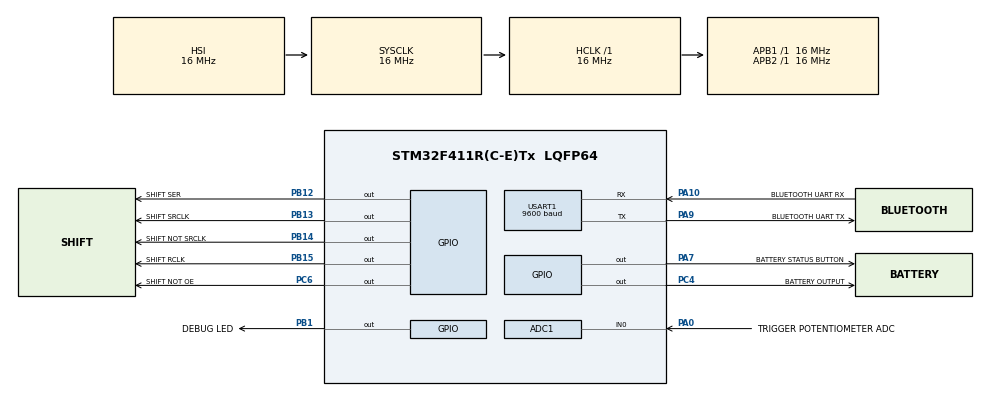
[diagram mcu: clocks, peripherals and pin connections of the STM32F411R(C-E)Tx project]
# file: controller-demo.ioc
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ADC1.Channel-2\#ChannelRegularConversion=ADC_CHANNEL_0
ADC1.ContinuousConvMode=DISABLE
ADC1.DiscontinuousConvMode=ENABLE
ADC1.NbrOfConversion=1
ADC1.NbrOfConversionFlag=1
ADC1.Rank-2\#ChannelRegularConversion=1
ADC1.Resolution=ADC_RESOLUTION_6B
ADC1.SamplingTime-2\#ChannelRegularConversion=ADC_SAMPLETIME_3CYCLES
ADC1.ScanConvMode=ENABLE
ADC1.master=1
Dma.ADC1.0.Direction=DMA_PERIPH_TO_MEMORY
Dma.ADC1.0.FIFOMode=DMA_FIFOMODE_DISABLE
Dma.ADC1.0.Instance=DMA2_Stream0
Dma.ADC1.0.MemDataAlignment=DMA_MDATAALIGN_HALFWORD
Dma.ADC1.0.MemInc=DMA_MINC_ENABLE
Dma.ADC1.0.Mode=DMA_CIRCULAR
Dma.ADC1.0.PeriphDataAlignment=DMA_PDATAALIGN_HALFWORD
Dma.ADC1.0.PeriphInc=DMA_PINC_DISABLE
Dma.ADC1.0.Priority=DMA_PRIORITY_LOW
Dma.Request0=ADC1
Mcu.Family=STM32F4
Mcu.Name=STM32F411R(C-E)Tx
Mcu.Package=LQFP64
Mcu.UserConstants=SLOW_PERIOD,2000;FAST_PERIOD,1000
NVIC.DMA2_Stream0_IRQn=true\:0\:0\:false\:false\:true\:false\:true\:true
NVIC.PriorityGroup=NVIC_PRIORITYGROUP_4
NVIC.TIM1_TRG_COM_TIM11_IRQn=true\:0\:0\:false\:false\:true\:true\:true\:true
NVIC.TIM1_UP_TIM10_IRQn=true\:0\:0\:false\:false\:true\:true\:true\:true
PA0-WKUP.GPIO_Label=TRIGGER POTENTIOMETER ADC
PA0-WKUP.Signal=ADCx_IN0
PA10.GPIO_Label=BLUETOOTH UART RX
PA10.Mode=Asynchronous
PA10.Signal=USART1_RX
PA7.GPIO_Label=BATTERY STATUS BUTTON
PA7.Signal=GPIO_Output
PA9.GPIO_Label=BLUETOOTH UART TX
PA9.Mode=Asynchronous
PA9.Signal=USART1_TX
PB1.GPIO_Label=DEBUG LED
PB1.Signal=GPIO_Output
PB12.GPIO_Label=SHIFT SER
PB12.Signal=GPIO_Output
PB13.GPIO_Label=SHIFT SRCLK
PB13.Signal=GPIO_Output
PB14.GPIO_Label=SHIFT NOT SRCLK
PB14.Signal=GPIO_Output
PB15.GPIO_Label=SHIFT RCLK
PB15.Signal=GPIO_Output
PC4.GPIO_Label=BATTERY OUTPUT
PC4.Signal=GPIO_Output
PC6.GPIO_Label=SHIFT NOT OE
PC6.Signal=GPIO_Output
ProjectManager.HeapSize=0x200
ProjectManager.StackSize=0x400
ProjectManager.TargetToolchain=STM32CubeIDE
RCC.AHBFreq_Value=16000000
RCC.APB1Freq_Value=16000000
RCC.APB2Freq_Value=16000000
RCC.CortexFreq_Value=16000000
RCC.HSE_VALUE=25000000
RCC.HSI_VALUE=16000000
RCC.LSE_VALUE=32768
RCC.SYSCLKFreq_VALUE=16000000
RCC.VCOOutputFreq_Value=192000000
SH.ADCx_IN0.0=ADC1_IN0,IN0
TIM10.Period=SLOW_PERIOD
TIM10.Prescaler=15
TIM11.Period=FAST_PERIOD
TIM11.Prescaler=15
USART1.BaudRate=9600
USART1.VirtualMode=VM_ASYNC
VP_TIM10_VS_ClockSourceINT.Mode=Enable_Timer
VP_TIM11_VS_ClockSourceINT.Mode=Enable_Timer
board=custom

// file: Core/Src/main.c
/* USER CODE BEGIN Header */
/**
  ******************************************************************************
  * @file           : main.c
  * @brief          : Main program body
  ******************************************************************************
  * @attention
  *
  * Copyright (c) 2022 STMicroelectronics.
  * All rights reserved.
  *
  * This software is licensed under terms that can be found in the LICENSE file
  * in the root directory of this software component.
  * If no LICENSE file comes with this software, it is provided AS-IS.
  *
  ******************************************************************************
  */
/* USER CODE END Header */
#include "main.h"

/* USER CODE BEGIN Includes */

#include "adc_sensor.h"
#include "controller_wireless.h"
#include "display.h"
#include "interrupt_timer.h"
#include "potentiometer.h"
#include "shift_register.h"
#include "battery_buzzer.h"
#include "trigger.h"
#include <string.h>
#include <stdbool.h>

/* USER CODE END Includes */

ADC_HandleTypeDef hadc1;
DMA_HandleTypeDef hdma_adc1;

TIM_HandleTypeDef htim10;
TIM_HandleTypeDef htim11;

UART_HandleTypeDef huart1;

/* USER CODE BEGIN PV */

ADCSensor *adc_sensor = NULL;
BatteryBuzzer *battery_buzzer = NULL;
Display *display = NULL;
Potentiometer *potentiometer = NULL;
ShiftRegister *shift_register = NULL;
Trigger *trigger = NULL;
Wireless *wireless = NULL;
PinData* shift_ser = NULL;
PinData* shift_srclk = NULL;
PinData* shift_not_srclk = NULL;
PinData* shift_rclk = NULL;
PinData* shift_not_oe = NULL;
PinData* buzzer = NULL;
InterruptTimer* slow_interrupt_timer = NULL;
InterruptTimer* fast_interrupt_timer = NULL;

/* USER CODE END PV */

void SystemClock_Config(void);
static void MX_GPIO_Init(void);
static void MX_DMA_Init(void);
static void MX_ADC1_Init(void);
static void MX_TIM10_Init(void);
static void MX_TIM11_Init(void);
static void MX_USART1_UART_Init(void);

/* USER CODE BEGIN 0 */

void HAL_TIM_PeriodElapsedCallback(TIM_HandleTypeDef *htim) {
	if (htim == fast_interrupt_timer->timer) {
		// called every 1 ms
	}
	if (htim == slow_interrupt_timer->timer) {
		// called every 2 ms
		update_battery_buzzer_logic(battery_buzzer);
	}
}

/* USER CODE END 0 */

int main(void)
{
  /* USER CODE BEGIN 1 */

	shift_ser = new_pin_data(SHIFT_SER_GPIO_Port, SHIFT_SER_Pin);
	shift_srclk = new_pin_data(SHIFT_SRCLK_GPIO_Port, SHIFT_SRCLK_Pin);
	shift_not_srclk = new_pin_data(SHIFT_NOT_SRCLK_GPIO_Port, SHIFT_NOT_SRCLK_Pin);
	shift_rclk = new_pin_data(SHIFT_RCLK_GPIO_Port, SHIFT_RCLK_Pin);
	shift_not_oe = new_pin_data(SHIFT_NOT_OE_GPIO_Port, SHIFT_NOT_OE_Pin);
	buzzer = new_pin_data(BATTERY_OUTPUT_GPIO_Port, BATTERY_OUTPUT_Pin);
	slow_interrupt_timer = new_interrupt_timer(&htim10);
	fast_interrupt_timer = new_interrupt_timer(&htim11);
	adc_sensor = new_adc_sensor(&hadc1, 1);
	potentiometer = new_potentiometer(adc_sensor, 0);
	shift_register = new_shift_register(
			shift_ser,
			shift_srclk,
			shift_not_srclk,
			shift_rclk,
			shift_not_oe);
	display = new_display(shift_register);
	trigger = new_trigger(potentiometer);
	wireless = new_wireless(&huart1);

  /* USER CODE END 1 */

  /* MCU Configuration--------------------------------------------------------*/

  /* Reset of all peripherals, Initializes the Flash interface and the Systick. */
  HAL_Init();

  /* Configure the system clock */
  SystemClock_Config();

  /* Initialize all configured peripherals */
  MX_GPIO_Init();
  MX_DMA_Init();
  MX_ADC1_Init();
  MX_TIM10_Init();
  MX_TIM11_Init();
  MX_USART1_UART_Init();
  /* USER CODE BEGIN 2 */

  start_interrupt_timer(fast_interrupt_timer);
  start_interrupt_timer(slow_interrupt_timer);

  /* USER CODE END 2 */

  /* Infinite loop */
  while (1)
  {

    /* USER CODE BEGIN 3 */
	  // TODO - COMMENT OUT FOR NOW - IT IS A BLOCKING FUNCTION, and it is not as important
	  receive_wireless(wireless, display);

	  update_adc_sensor_values(adc_sensor);
	  int desired_angle = (int)get_trigger_input(trigger);
	  send_wireless_desired_angle(wireless, desired_angle);

	  update_display_number(display, desired_angle);
  }
  /* USER CODE END 3 */
}

void SystemClock_Config(void)
{
  RCC_OscInitTypeDef RCC_OscInitStruct = {0};
  RCC_ClkInitTypeDef RCC_ClkInitStruct = {0};

  /** Configure the main internal regulator output voltage
  */
  __HAL_RCC_PWR_CLK_ENABLE();
  __HAL_PWR_VOLTAGESCALING_CONFIG(PWR_REGULATOR_VOLTAGE_SCALE1);

  /** Initializes the RCC Oscillators according to the specified parameters
  * in the RCC_OscInitTypeDef structure.
  */
  RCC_OscInitStruct.OscillatorType = RCC_OSCILLATORTYPE_HSI;
  RCC_OscInitStruct.HSIState = RCC_HSI_ON;
  RCC_OscInitStruct.HSICalibrationValue = RCC_HSICALIBRATION_DEFAULT;
  RCC_OscInitStruct.PLL.PLLState = RCC_PLL_NONE;
  if (HAL_RCC_OscConfig(&RCC_OscInitStruct) != HAL_OK)
  {
    Error_Handler();
  }

  /** Initializes the CPU, AHB and APB buses clocks
  */
  RCC_ClkInitStruct.ClockType = RCC_CLOCKTYPE_HCLK|RCC_CLOCKTYPE_SYSCLK
                              |RCC_CLOCKTYPE_PCLK1|RCC_CLOCKTYPE_PCLK2;
  RCC_ClkInitStruct.SYSCLKSource = RCC_SYSCLKSOURCE_HSI;
  RCC_ClkInitStruct.AHBCLKDivider = RCC_SYSCLK_DIV1;
  RCC_ClkInitStruct.APB1CLKDivider = RCC_HCLK_DIV1;
  RCC_ClkInitStruct.APB2CLKDivider = RCC_HCLK_DIV1;

  if (HAL_RCC_ClockConfig(&RCC_ClkInitStruct, FLASH_LATENCY_0) != HAL_OK)
  {
    Error_Handler();
  }
}

static void MX_ADC1_Init(void)
{

  ADC_ChannelConfTypeDef sConfig = {0};

  /** Configure the global features of the ADC (Clock, Resolution, Data Alignment and number of conversion)
  */
  hadc1.Instance = ADC1;
  hadc1.Init.ClockPrescaler = ADC_CLOCK_SYNC_PCLK_DIV2;
  hadc1.Init.Resolution = ADC_RESOLUTION_6B;
  hadc1.Init.ScanConvMode = ENABLE;
  hadc1.Init.ContinuousConvMode = DISABLE;
  hadc1.Init.DiscontinuousConvMode = ENABLE;
  hadc1.Init.NbrOfDiscConversion = 1;
  hadc1.Init.ExternalTrigConvEdge = ADC_EXTERNALTRIGCONVEDGE_NONE;
  hadc1.Init.ExternalTrigConv = ADC_SOFTWARE_START;
  hadc1.Init.DataAlign = ADC_DATAALIGN_RIGHT;
  hadc1.Init.NbrOfConversion = 1;
  hadc1.Init.DMAContinuousRequests = DISABLE;
  hadc1.Init.EOCSelection = ADC_EOC_SINGLE_CONV;
  if (HAL_ADC_Init(&hadc1) != HAL_OK)
  {
    Error_Handler();
  }

  /** Configure for the selected ADC regular channel its corresponding rank in the sequencer and its sample time.
  */
  sConfig.Channel = ADC_CHANNEL_0;
  sConfig.Rank = 1;
  sConfig.SamplingTime = ADC_SAMPLETIME_3CYCLES;
  if (HAL_ADC_ConfigChannel(&hadc1, &sConfig) != HAL_OK)
  {
    Error_Handler();
  }

}

static void MX_TIM10_Init(void)
{

  htim10.Instance = TIM10;
  htim10.Init.Prescaler = 15;
  htim10.Init.CounterMode = TIM_COUNTERMODE_UP;
  htim10.Init.Period = SLOW_PERIOD;
  htim10.Init.ClockDivision = TIM_CLOCKDIVISION_DIV1;
  htim10.Init.AutoReloadPreload = TIM_AUTORELOAD_PRELOAD_DISABLE;
  if (HAL_TIM_Base_Init(&htim10) != HAL_OK)
  {
    Error_Handler();
  }

}

static void MX_TIM11_Init(void)
{

  htim11.Instance = TIM11;
  htim11.Init.Prescaler = 15;
  htim11.Init.CounterMode = TIM_COUNTERMODE_UP;
  htim11.Init.Period = FAST_PERIOD;
  htim11.Init.ClockDivision = TIM_CLOCKDIVISION_DIV1;
  htim11.Init.AutoReloadPreload = TIM_AUTORELOAD_PRELOAD_DISABLE;
  if (HAL_TIM_Base_Init(&htim11) != HAL_OK)
  {
    Error_Handler();
  }

}

static void MX_USART1_UART_Init(void)
{

  huart1.Instance = USART1;
  huart1.Init.BaudRate = 9600;
  huart1.Init.WordLength = UART_WORDLENGTH_8B;
  huart1.Init.StopBits = UART_STOPBITS_1;
  huart1.Init.Parity = UART_PARITY_NONE;
  huart1.Init.Mode = UART_MODE_TX_RX;
  huart1.Init.HwFlowCtl = UART_HWCONTROL_NONE;
  huart1.Init.OverSampling = UART_OVERSAMPLING_16;
  if (HAL_UART_Init(&huart1) != HAL_OK)
  {
    Error_Handler();
  }

}

static void MX_DMA_Init(void)
{

  /* DMA controller clock enable */
  __HAL_RCC_DMA2_CLK_ENABLE();

  /* DMA interrupt init */
  /* DMA2_Stream0_IRQn interrupt configuration */
  HAL_NVIC_SetPriority(DMA2_Stream0_IRQn, 0, 0);
  HAL_NVIC_EnableIRQ(DMA2_Stream0_IRQn);

}

static void MX_GPIO_Init(void)
{
  GPIO_InitTypeDef GPIO_InitStruct = {0};

  /* GPIO Ports Clock Enable */
  __HAL_RCC_GPIOA_CLK_ENABLE();
  __HAL_RCC_GPIOC_CLK_ENABLE();
  __HAL_RCC_GPIOB_CLK_ENABLE();

  /*Configure GPIO pin Output Level */
  HAL_GPIO_WritePin(BATTERY_STATUS_BUTTON_GPIO_Port, BATTERY_STATUS_BUTTON_Pin, GPIO_PIN_RESET);

  /*Configure GPIO pin Output Level */
  HAL_GPIO_WritePin(GPIOC, BATTERY_OUTPUT_Pin|SHIFT_NOT_OE_Pin, GPIO_PIN_RESET);

  /*Configure GPIO pin Output Level */
  HAL_GPIO_WritePin(GPIOB, DEBUG_LED_Pin|SHIFT_SER_Pin|SHIFT_SRCLK_Pin|SHIFT_NOT_SRCLK_Pin
                          |SHIFT_RCLK_Pin, GPIO_PIN_RESET);

  /*Configure GPIO pin : BATTERY_STATUS_BUTTON_Pin */
  GPIO_InitStruct.Pin = BATTERY_STATUS_BUTTON_Pin;
  GPIO_InitStruct.Mode = GPIO_MODE_OUTPUT_PP;
  GPIO_InitStruct.Pull = GPIO_NOPULL;
  GPIO_InitStruct.Speed = GPIO_SPEED_FREQ_LOW;
  HAL_GPIO_Init(BATTERY_STATUS_BUTTON_GPIO_Port, &GPIO_InitStruct);

  /*Configure GPIO pins : BATTERY_OUTPUT_Pin SHIFT_NOT_OE_Pin */
  GPIO_InitStruct.Pin = BATTERY_OUTPUT_Pin|SHIFT_NOT_OE_Pin;
  GPIO_InitStruct.Mode = GPIO_MODE_OUTPUT_PP;
  GPIO_InitStruct.Pull = GPIO_NOPULL;
  GPIO_InitStruct.Speed = GPIO_SPEED_FREQ_LOW;
  HAL_GPIO_Init(GPIOC, &GPIO_InitStruct);

  /*Configure GPIO pins : DEBUG_LED_Pin SHIFT_SER_Pin SHIFT_SRCLK_Pin SHIFT_NOT_SRCLK_Pin
                           SHIFT_RCLK_Pin */
  GPIO_InitStruct.Pin = DEBUG_LED_Pin|SHIFT_SER_Pin|SHIFT_SRCLK_Pin|SHIFT_NOT_SRCLK_Pin
                          |SHIFT_RCLK_Pin;
  GPIO_InitStruct.Mode = GPIO_MODE_OUTPUT_PP;
  GPIO_InitStruct.Pull = GPIO_NOPULL;
  GPIO_InitStruct.Speed = GPIO_SPEED_FREQ_LOW;
  HAL_GPIO_Init(GPIOB, &GPIO_InitStruct);

}

void Error_Handler(void)
{
  __disable_irq();
  while (1)
  {
  }
}
